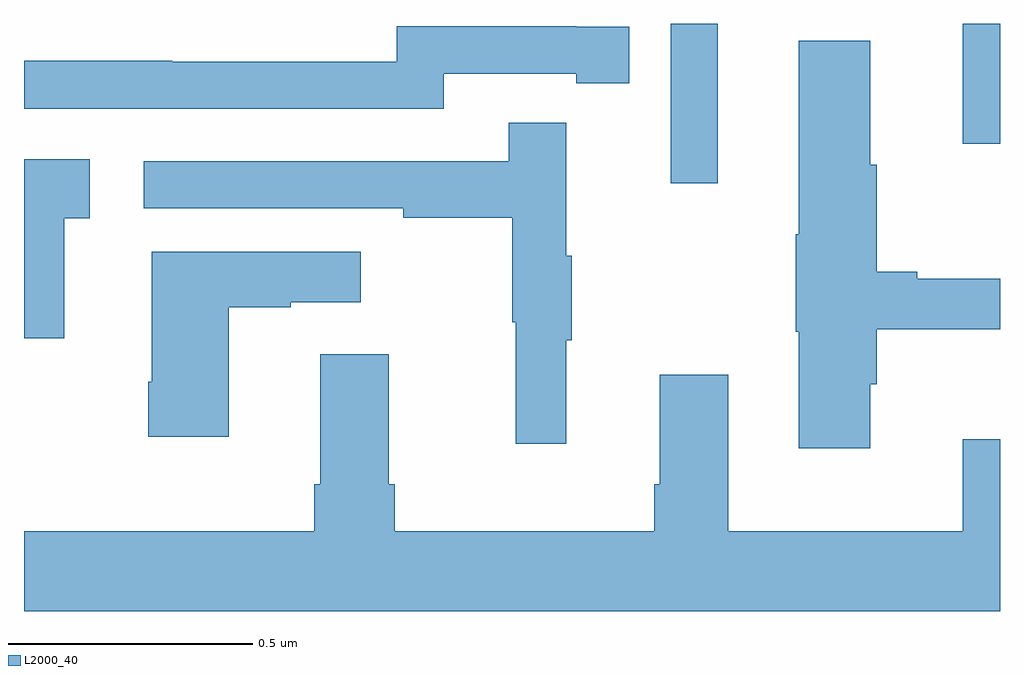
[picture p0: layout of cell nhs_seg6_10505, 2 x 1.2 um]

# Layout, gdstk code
import gdstk
lib = gdstk.Library(unit=1e-6, precision=1e-09)
def R(c, l, rs):  # rectangles x0, y0, x1, y1
    for r in rs: c.add(gdstk.rectangle(r[:2], r[2:], *l))
def P(c, l, *ps):  # polygons
    for p in ps: c.add(gdstk.Polygon(p, *l))
L2000_40 = (2000, 40)

nhs_seg6_10505 = lib.new_cell('nhs_seg6_10505')
R(nhs_seg6_10505, L2000_40, [(248.325,988.173,248.422,988.5), (248.924,988.254,249,988.5)])
P(nhs_seg6_10505, L2000_40, [(247.86,988.398),(248.132,988.398),(248.132,988.378),(248.24,988.378),(248.24,988.494),(248.132,988.494),(248.132,988.495),(247.764,988.495),(247.764,988.422),(247.304,988.422),(247.304,988.424),(247,988.424),(247,988.326),(247.86,988.326)],
  [(248.734,987.761),(248.747,987.761),(248.747,987.874),(249,987.874),(249,987.977),(248.83,987.977),(248.83,987.992),(248.747,987.992),(248.747,988.211),(248.734,988.211),(248.734,988.465),(248.588,988.465),(248.588,988.069),(248.581,988.069),(248.581,987.869),(248.588,987.869),(248.588,987.63),(248.734,987.63)],
  [(248.111,987.851),(248.122,987.851),(248.122,988.025),(248.111,988.025),(248.111,988.297),(247.993,988.297),(247.993,988.218),(247.245,988.218),(247.245,988.122),(247.777,988.122),(247.777,988.102),(248.001,988.102),(248.001,987.888),(248.008,987.888),(248.008,987.639),(248.111,987.639)],
  [(247.082,988.101),(247.135,988.101),(247.135,988.222),(247,988.222),(247,987.855),(247.082,987.855)],
  [(247.42,987.919),(247.547,987.919),(247.547,987.929),(247.69,987.929),(247.69,988.033),(247.262,988.033),(247.262,987.766),(247.255,987.766),(247.255,987.654),(247.42,987.654)],
  [(249,987.649),(248.924,987.649),(248.924,987.46),(248.443,987.46),(248.443,987.781),(248.303,987.781),(248.303,987.556),(248.291,987.556),(248.291,987.46),(247.76,987.46),(247.76,987.556),(247.747,987.556),(247.747,987.823),(247.607,987.823),(247.607,987.556),(247.595,987.556),(247.595,987.46),(247,987.46),(247,987.296),(249,987.296)])

lib.write_gds('nhs_seg6_10505.gds')
